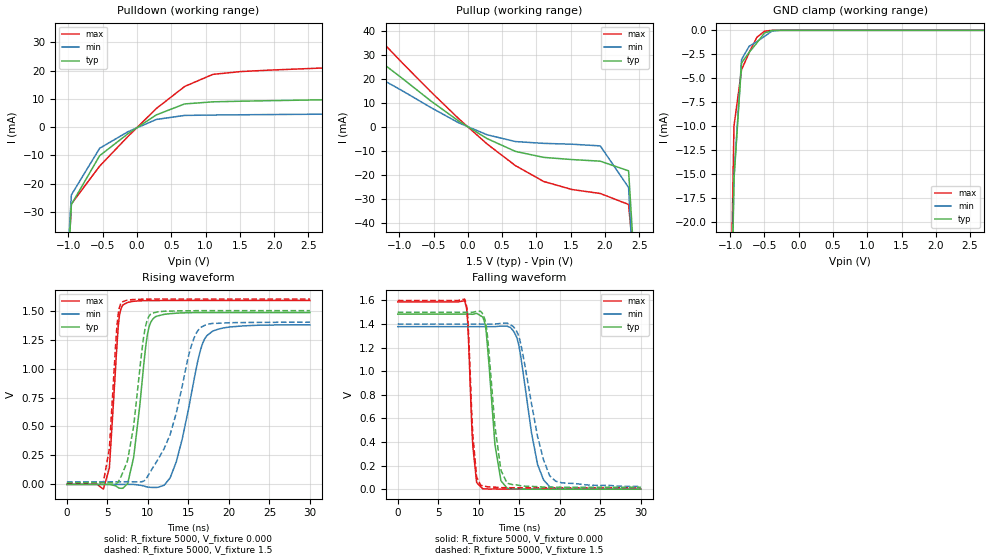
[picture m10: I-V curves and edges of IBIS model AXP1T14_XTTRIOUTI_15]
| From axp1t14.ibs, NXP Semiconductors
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|   Model AXP1T14_XTTRIOUTI_15
[Model]   AXP1T14_XTTRIOUTI_15
Model_type   Output
Polarity   Inverting
Vmeas =  0.75V
Cref  =  5e-12
Rref  =  10e+3
Vref  =  0V
C_comp   1.9310pF   1.7950pF   2.0610pF
[Model Spec]
| Note: The input and output voltage ratings may be exceeded if the input and
|   output current ratings are observed (please refer to the data sheet)
|   Subparameter   typ   min   max
| Timing Thresholds
Vmeas   0.75   0.7   0.8
|Ambient temperature:   25   85   -40
[Temperature Range]   30   90   -35
[Voltage Range]   1.5   1.4   1.6
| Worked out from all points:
|   slope of the pulldown table from 0 to 0.225 V, typ, clamps not added: 61.9 ohm
|   slope of the pullup table from 0 to 0.225 V, typ, clamps not added: 57 ohm
|   GND clamp passes 1 mA (typ) near -0.58 V on its own axis
|   rising waveform, R_fixture 5000, V_fixture 0.000: 20-80 % time 1.38ns typ, 2.48ns min, 849ps max; typ from 0 V to 1.48 V
|   rising waveform, R_fixture 5000, V_fixture 1.5: 20-80 % time 1.58ns typ, 3.15ns min, 831ps max; typ from 0.016 V to 1.5 V
|   falling waveform, R_fixture 5000, V_fixture 0.000: 20-80 % time 1.09ns typ, 1.84ns min, 609ps max; typ from 1.48 V to 0 V
|   falling waveform, R_fixture 5000, V_fixture 1.5: 20-80 % time 1.23ns typ, 2.32ns min, 672ps max; typ from 1.5 V to 0.016 V
|Process Range   nominal   slow   fast
[GND_clamp]
|   voltage   I(typ)   I(min)   I(max)
-5.5V     -2.957A    -2.756A    -3.17A
-1.056V   -61.76mA   -55.78mA   -55.53mA
-944.4mV  -15.58mA   -15.38mA   -10.03mA
-833.3mV  -3.412mA   -3.047mA   -4.112mA
-722.2mV  -2.287mA   -1.662mA   -2.321mA
-611.1mV  -1.33mA    -1.186mA   -742.4uA
-500mV    -281.9uA   -644uA     -90.52uA
-388.9mV  -19.05uA   -70.75uA   -2.215uA
-277.8mV  -361.8nA   -2.29uA    -18.11nA
11V       0A         0A         0A
[Pulldown]
|   voltage   I(typ)   I(min)   I(max)
-5.5V     -2.957A    -2.756A    -3.171A
-1.156V   -119mA     -107mA     -119mA
-958mV    -27.4mA    -24mA      -27.2mA
-545mV    -10.1mA    -7.48mA    -13.8mA
-132mV    -2.33mA    -1.63mA    -3.3mA
281mV     4.34mA     2.72mA     6.58mA
694mV     8.22mA     4.15mA     14.4mA
1.107V    8.97mA     4.29mA     18.7mA
5.236V    11mA       5.23mA     23.6mA
6.887V    13.5mA     6.5mA      28.5mA
8.126V    17mA       8.18mA     35.3mA
11V       29.6mA     14.3mA     59.6mA
[Pullup]
|   voltage   I(typ)   I(min)   I(max)
-5.5V     120.8mA    94.64mA    157.2mA
-2.61V    56.5mA     42.59mA    74.79mA
-2.197V   47.34mA    35.51mA    62.8mA
-1.784V   38.21mA    28.54mA    51.02mA
-1.371V   29.26mA    21.7mA     38.98mA
-132.1mV  2.482mA    1.765mA    3.472mA
693.7mV   -10.07mA   -5.982mA   -15.97mA
1.107V    -12.56mA   -6.739mA   -22.57mA
1.932V    -14.13mA   -7.782mA   -27.55mA
2.345V    -18.14mA   -25.06mA   -32.11mA
2.758V    -208.7mA   -243.4mA   -158.9mA
11V       -6.047A    -5.686A    -6.449A
[Ramp]
| variable   typ   min   max
dV/dt_r  9.1670E-01/1.4110E-09  8.4680E-01/2.5300E-09  9.8600E-01/8.1830E-10
dV/dt_f  9.1670E-01/1.0590E-09  8.4680E-01/1.8550E-09  9.8600E-01/6.2300E-10
R_load = 5000
[Rising Waveform]
R_fixture   = 5000
V_fixture   = 0.000
V_fixture_min = 0.000
V_fixture_max = 0.000
| time   V(typ)   V(min)   V(max)
0s        5.699nV    11.83nV    4.038nV
4.5ns     -581.9nV   3.923uV    -40.95mV
5.24ns    497.9uV    118.1nV    141.1mV
6.34ns    -27.98mV   -4.967uV   1.366V
6.92ns    -32.47mV   96.24uV    1.55V
8.24ns    234.2mV    171uV      1.581V
10.6ns    1.427V     -26.19mV   1.587V
13.5ns    1.478V     194.9mV    1.588V
17.26ns   1.483V     1.283V     1.588V
30ns      1.484V     1.378V     1.588V
[Rising Waveform]
R_fixture   = 5000
V_fixture   = 1.5
V_fixture_min = 1.4
V_fixture_max = 1.6
| time   V(typ)   V(min)   V(max)
0s        16.48mV    23mV       12.01mV
4.5ns     16.48mV    23mV       18.46mV
5.24ns    16.84mV    23mV       308.9mV
6.14ns    11.01mV    22.99mV    1.334V
6.74ns    76.43mV    23.03mV    1.573V
7.5ns     211.8mV    23.18mV    1.592V
10.34ns   1.47V      113.9mV    1.6V
12.74ns   1.496V     429.8mV    1.6V
16.42ns   1.5V       1.35V      1.6V
30ns      1.5V       1.4V       1.6V
[Falling Waveform]
R_fixture   = 5000
V_fixture   = 0.000
V_fixture_min = 0.000
V_fixture_max = 0.000
| time   V(typ)   V(min)   V(max)
0s        1.484V     1.378V     1.588V
8.26ns    1.484V     1.378V     1.594V
8.62ns    1.484V     1.378V     1.428V
9.28ns    1.483V     1.378V     356.1mV
10.5ns    1.459V     1.378V     3.009mV
12ns      375.3mV    1.378V     1.888mV
13.5ns    8.035mV    1.382V     99.02uV
14.88ns   2.343mV    1.24V      9.826uV
18ns      502.1uV    78.51mV    72.87nV
30ns      13.06nV    105uV      4.514nV
[Falling Waveform]
R_fixture   = 5000
V_fixture   = 1.5
V_fixture_min = 1.4
V_fixture_max = 1.6
| time   V(typ)   V(min)   V(max)
0s        1.5V       1.4V       1.6V
8.3ns     1.5V       1.4V       1.605V
8.66ns    1.5V       1.4V       1.425V
9.28ns    1.5V       1.4V       446.8mV
10.22ns   1.509V     1.4V       34.46mV
12.74ns   159.2mV    1.406V     12.8mV
13.5ns    50.36mV    1.409V     12.21mV
15ns      31.53mV    1.284V     12.03mV
18.76ns   16.95mV    113mV      12.01mV
30ns      16.48mV    23.19mV    12.01mV
